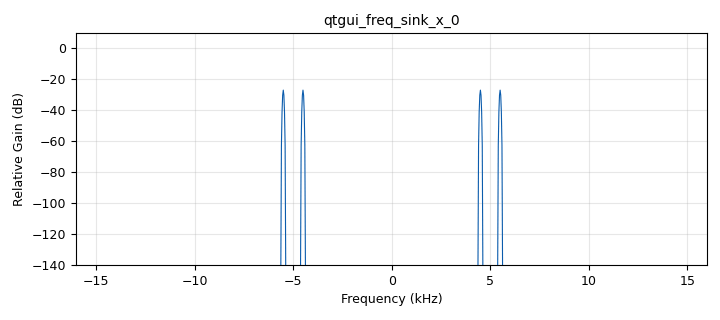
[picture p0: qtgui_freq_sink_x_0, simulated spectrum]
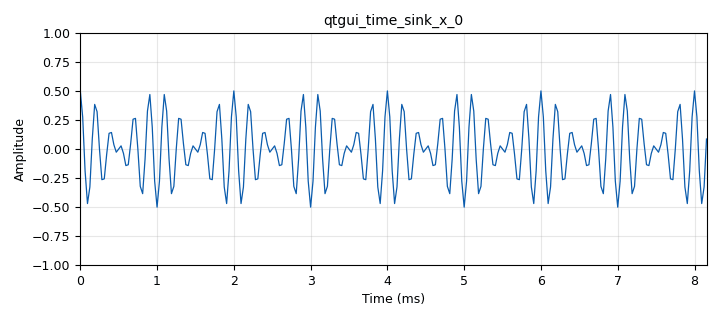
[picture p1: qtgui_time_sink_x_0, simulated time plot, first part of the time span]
options:
  parameters:
    generate_options: qt_gui
    generator_class_name: PythonQtGuiGenerator
    generator_module: gnuradio.grc.workflows.python_qt_gui
    id: am_modulator
    output_language: python
    title: Not titled yet
  states: {}

blocks:
- name: msg_freq
  id: variable_qtgui_range
  parameters:
    start: '100'
    step: '10'
    stop: '2000'
    value: '500'
  states: {}
- name: samp_rate
  id: variable
  parameters:
    value: '32000'
  states: {}
- name: analog_sig_source_x_0
  id: analog_sig_source_x
  parameters:
    amp: '0.5'
    freq: msg_freq
    offset: '0'
    phase: '0'
    samp_rate: samp_rate
    type: float
    waveform: analog.GR_COS_WAVE
  states: {}
- name: analog_sig_source_x_1
  id: analog_sig_source_x
  parameters:
    amp: '1'
    freq: '5000'
    offset: '0'
    phase: '0'
    samp_rate: samp_rate
    type: float
    waveform: analog.GR_COS_WAVE
  states: {}
- name: blocks_multiply_xx_0
  id: blocks_multiply_xx
  parameters:
    type: float
  states: {}
- name: blocks_throttle2_0
  id: blocks_throttle2
  parameters:
    samples_per_second: samp_rate
    type: float
  states: {}
- name: qtgui_freq_sink_x_0
  id: qtgui_freq_sink_x
  parameters:
    bw: samp_rate
    fc: '0'
    fftsize: '1024'
    type: float
  states: {}
- name: qtgui_time_sink_x_0
  id: qtgui_time_sink_x
  parameters:
    size: '1024'
    srate: samp_rate
    type: float
  states: {}

connections:
- [analog_sig_source_x_0, '0', blocks_multiply_xx_0, '0']
- [analog_sig_source_x_1, '0', blocks_multiply_xx_0, '1']
- [blocks_multiply_xx_0, '0', blocks_throttle2_0, '0']
- [blocks_throttle2_0, '0', qtgui_freq_sink_x_0, '0']
- [blocks_throttle2_0, '0', qtgui_time_sink_x_0, '0']

metadata:
  file_format: 1
  grc_version: v3.11.0.0git-1083-ge2c22a2b
